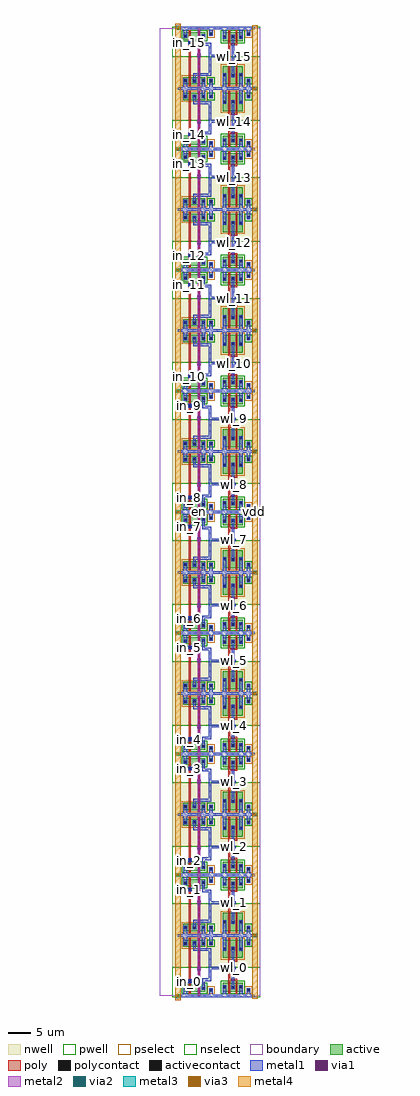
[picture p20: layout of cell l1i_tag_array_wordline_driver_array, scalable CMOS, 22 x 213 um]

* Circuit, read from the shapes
.subckt l1i_tag_array_wordline_driver_array en gnd in_0 in_1 in_10 in_11 in_12 in_13 in_14 in_15 in_2 in_3 in_4 in_5 in_6 in_7 in_8 in_9 vdd wl_0 wl_1 wl_10 wl_11 wl_12 wl_13 wl_14 wl_15 wl_2 wl_3 wl_4 wl_5 wl_6 wl_7 wl_8 wl_9
M1 l1i_tag_array_wordline_driver_0/l1i_tag_array_pnand2_0/l1i_tag_array_nmos_m1_w1_600_sm1_dactive_2/D in_0 gnd gnd nfet w=1.6u l=0.4u
M2 l1i_tag_array_wordline_driver_1/l1i_tag_array_pnand2_0/l1i_tag_array_nmos_m1_w1_600_sm1_dactive_2/D in_1 gnd gnd nfet w=1.6u l=0.4u
M3 l1i_tag_array_wordline_driver_2/l1i_tag_array_pnand2_0/l1i_tag_array_nmos_m1_w1_600_sm1_dactive_2/D in_2 gnd gnd nfet w=1.6u l=0.4u
M4 l1i_tag_array_wordline_driver_3/l1i_tag_array_pnand2_0/l1i_tag_array_nmos_m1_w1_600_sm1_dactive_2/D in_3 gnd gnd nfet w=1.6u l=0.4u
M5 l1i_tag_array_wordline_driver_4/l1i_tag_array_pnand2_0/l1i_tag_array_nmos_m1_w1_600_sm1_dactive_2/D in_4 gnd gnd nfet w=1.6u l=0.4u
M6 l1i_tag_array_wordline_driver_5/l1i_tag_array_pnand2_0/l1i_tag_array_nmos_m1_w1_600_sm1_dactive_2/D in_5 gnd gnd nfet w=1.6u l=0.4u
M7 l1i_tag_array_wordline_driver_6/l1i_tag_array_pnand2_0/l1i_tag_array_nmos_m1_w1_600_sm1_dactive_2/D in_6 gnd gnd nfet w=1.6u l=0.4u
M8 l1i_tag_array_wordline_driver_7/l1i_tag_array_pnand2_0/l1i_tag_array_nmos_m1_w1_600_sm1_dactive_2/D in_7 gnd gnd nfet w=1.6u l=0.4u
M9 l1i_tag_array_wordline_driver_8/l1i_tag_array_pnand2_0/l1i_tag_array_nmos_m1_w1_600_sm1_dactive_2/D in_8 gnd gnd nfet w=1.6u l=0.4u
M10 l1i_tag_array_wordline_driver_9/l1i_tag_array_pnand2_0/l1i_tag_array_nmos_m1_w1_600_sm1_dactive_2/D in_9 gnd gnd nfet w=1.6u l=0.4u
M11 l1i_tag_array_wordline_driver_10/l1i_tag_array_pnand2_0/l1i_tag_array_nmos_m1_w1_600_sm1_dactive_2/D in_10 gnd gnd nfet w=1.6u l=0.4u
M12 l1i_tag_array_wordline_driver_11/l1i_tag_array_pnand2_0/l1i_tag_array_nmos_m1_w1_600_sm1_dactive_2/D in_11 gnd gnd nfet w=1.6u l=0.4u
M13 l1i_tag_array_wordline_driver_12/l1i_tag_array_pnand2_0/l1i_tag_array_nmos_m1_w1_600_sm1_dactive_2/D in_12 gnd gnd nfet w=1.6u l=0.4u
M14 l1i_tag_array_wordline_driver_13/l1i_tag_array_pnand2_0/l1i_tag_array_nmos_m1_w1_600_sm1_dactive_2/D in_13 gnd gnd nfet w=1.6u l=0.4u
M15 l1i_tag_array_wordline_driver_14/l1i_tag_array_pnand2_0/l1i_tag_array_nmos_m1_w1_600_sm1_dactive_2/D in_14 gnd gnd nfet w=1.6u l=0.4u
M16 l1i_tag_array_wordline_driver_15/l1i_tag_array_pnand2_0/l1i_tag_array_nmos_m1_w1_600_sm1_dactive_2/D in_15 gnd gnd nfet w=1.6u l=0.4u
M17 l1i_tag_array_wordline_driver_0/l1i_tag_array_pinv_0_1/A en l1i_tag_array_wordline_driver_0/l1i_tag_array_pnand2_0/l1i_tag_array_nmos_m1_w1_600_sm1_dactive_2/D gnd nfet w=1.6u l=0.4u
M18 l1i_tag_array_wordline_driver_1/l1i_tag_array_pinv_0_1/A en l1i_tag_array_wordline_driver_1/l1i_tag_array_pnand2_0/l1i_tag_array_nmos_m1_w1_600_sm1_dactive_2/D gnd nfet w=1.6u l=0.4u
M19 l1i_tag_array_wordline_driver_2/l1i_tag_array_pinv_0_1/A en l1i_tag_array_wordline_driver_2/l1i_tag_array_pnand2_0/l1i_tag_array_nmos_m1_w1_600_sm1_dactive_2/D gnd nfet w=1.6u l=0.4u
M20 l1i_tag_array_wordline_driver_3/l1i_tag_array_pinv_0_1/A en l1i_tag_array_wordline_driver_3/l1i_tag_array_pnand2_0/l1i_tag_array_nmos_m1_w1_600_sm1_dactive_2/D gnd nfet w=1.6u l=0.4u
M21 l1i_tag_array_wordline_driver_4/l1i_tag_array_pinv_0_1/A en l1i_tag_array_wordline_driver_4/l1i_tag_array_pnand2_0/l1i_tag_array_nmos_m1_w1_600_sm1_dactive_2/D gnd nfet w=1.6u l=0.4u
M22 l1i_tag_array_wordline_driver_5/l1i_tag_array_pinv_0_1/A en l1i_tag_array_wordline_driver_5/l1i_tag_array_pnand2_0/l1i_tag_array_nmos_m1_w1_600_sm1_dactive_2/D gnd nfet w=1.6u l=0.4u
M23 l1i_tag_array_wordline_driver_6/l1i_tag_array_pinv_0_1/A en l1i_tag_array_wordline_driver_6/l1i_tag_array_pnand2_0/l1i_tag_array_nmos_m1_w1_600_sm1_dactive_2/D gnd nfet w=1.6u l=0.4u
M24 l1i_tag_array_wordline_driver_7/l1i_tag_array_pinv_0_1/A en l1i_tag_array_wordline_driver_7/l1i_tag_array_pnand2_0/l1i_tag_array_nmos_m1_w1_600_sm1_dactive_2/D gnd nfet w=1.6u l=0.4u
M25 l1i_tag_array_wordline_driver_8/l1i_tag_array_pinv_0_1/A en l1i_tag_array_wordline_driver_8/l1i_tag_array_pnand2_0/l1i_tag_array_nmos_m1_w1_600_sm1_dactive_2/D gnd nfet w=1.6u l=0.4u
M26 l1i_tag_array_wordline_driver_9/l1i_tag_array_pinv_0_1/A en l1i_tag_array_wordline_driver_9/l1i_tag_array_pnand2_0/l1i_tag_array_nmos_m1_w1_600_sm1_dactive_2/D gnd nfet w=1.6u l=0.4u
M27 l1i_tag_array_wordline_driver_10/l1i_tag_array_pinv_0_1/A en l1i_tag_array_wordline_driver_10/l1i_tag_array_pnand2_0/l1i_tag_array_nmos_m1_w1_600_sm1_dactive_2/D gnd nfet w=1.6u l=0.4u
M28 l1i_tag_array_wordline_driver_11/l1i_tag_array_pinv_0_1/A en l1i_tag_array_wordline_driver_11/l1i_tag_array_pnand2_0/l1i_tag_array_nmos_m1_w1_600_sm1_dactive_2/D gnd nfet w=1.6u l=0.4u
M29 l1i_tag_array_wordline_driver_12/l1i_tag_array_pinv_0_1/A en l1i_tag_array_wordline_driver_12/l1i_tag_array_pnand2_0/l1i_tag_array_nmos_m1_w1_600_sm1_dactive_2/D gnd nfet w=1.6u l=0.4u
M30 l1i_tag_array_wordline_driver_13/l1i_tag_array_pinv_0_1/A en l1i_tag_array_wordline_driver_13/l1i_tag_array_pnand2_0/l1i_tag_array_nmos_m1_w1_600_sm1_dactive_2/D gnd nfet w=1.6u l=0.4u
M31 l1i_tag_array_wordline_driver_14/l1i_tag_array_pinv_0_1/A en l1i_tag_array_wordline_driver_14/l1i_tag_array_pnand2_0/l1i_tag_array_nmos_m1_w1_600_sm1_dactive_2/D gnd nfet w=1.6u l=0.4u
M32 l1i_tag_array_wordline_driver_15/l1i_tag_array_pinv_0_1/A en l1i_tag_array_wordline_driver_15/l1i_tag_array_pnand2_0/l1i_tag_array_nmos_m1_w1_600_sm1_dactive_2/D gnd nfet w=1.6u l=0.4u
M33 wl_0 l1i_tag_array_wordline_driver_0/l1i_tag_array_pinv_0_1/A gnd gnd nfet w=2u l=0.4u m=2
M34 wl_1 l1i_tag_array_wordline_driver_1/l1i_tag_array_pinv_0_1/A gnd gnd nfet w=2u l=0.4u m=2
M35 wl_2 l1i_tag_array_wordline_driver_2/l1i_tag_array_pinv_0_1/A gnd gnd nfet w=2u l=0.4u m=2
M36 wl_3 l1i_tag_array_wordline_driver_3/l1i_tag_array_pinv_0_1/A gnd gnd nfet w=2u l=0.4u m=2
M37 wl_4 l1i_tag_array_wordline_driver_4/l1i_tag_array_pinv_0_1/A gnd gnd nfet w=2u l=0.4u m=2
M38 wl_5 l1i_tag_array_wordline_driver_5/l1i_tag_array_pinv_0_1/A gnd gnd nfet w=2u l=0.4u m=2
M39 wl_6 l1i_tag_array_wordline_driver_6/l1i_tag_array_pinv_0_1/A gnd gnd nfet w=2u l=0.4u m=2
M40 wl_7 l1i_tag_array_wordline_driver_7/l1i_tag_array_pinv_0_1/A gnd gnd nfet w=2u l=0.4u m=2
M41 wl_8 l1i_tag_array_wordline_driver_8/l1i_tag_array_pinv_0_1/A gnd gnd nfet w=2u l=0.4u m=2
M42 wl_9 l1i_tag_array_wordline_driver_9/l1i_tag_array_pinv_0_1/A gnd gnd nfet w=2u l=0.4u m=2
M43 wl_10 l1i_tag_array_wordline_driver_10/l1i_tag_array_pinv_0_1/A gnd gnd nfet w=2u l=0.4u m=2
M44 wl_11 l1i_tag_array_wordline_driver_11/l1i_tag_array_pinv_0_1/A gnd gnd nfet w=2u l=0.4u m=2
M45 wl_12 l1i_tag_array_wordline_driver_12/l1i_tag_array_pinv_0_1/A gnd gnd nfet w=2u l=0.4u m=2
M46 wl_13 l1i_tag_array_wordline_driver_13/l1i_tag_array_pinv_0_1/A gnd gnd nfet w=2u l=0.4u m=2
M47 wl_14 l1i_tag_array_wordline_driver_14/l1i_tag_array_pinv_0_1/A gnd gnd nfet w=2u l=0.4u m=2
M48 wl_15 l1i_tag_array_wordline_driver_15/l1i_tag_array_pinv_0_1/A gnd gnd nfet w=2u l=0.4u m=2
M49 l1i_tag_array_wordline_driver_0/l1i_tag_array_pinv_0_1/A in_0 vdd vdd pfet w=1.6u l=0.4u
M50 l1i_tag_array_wordline_driver_1/l1i_tag_array_pinv_0_1/A in_1 vdd vdd pfet w=1.6u l=0.4u
M51 l1i_tag_array_wordline_driver_2/l1i_tag_array_pinv_0_1/A in_2 vdd vdd pfet w=1.6u l=0.4u
M52 l1i_tag_array_wordline_driver_3/l1i_tag_array_pinv_0_1/A in_3 vdd vdd pfet w=1.6u l=0.4u
M53 l1i_tag_array_wordline_driver_4/l1i_tag_array_pinv_0_1/A in_4 vdd vdd pfet w=1.6u l=0.4u
M54 l1i_tag_array_wordline_driver_5/l1i_tag_array_pinv_0_1/A in_5 vdd vdd pfet w=1.6u l=0.4u
M55 l1i_tag_array_wordline_driver_6/l1i_tag_array_pinv_0_1/A in_6 vdd vdd pfet w=1.6u l=0.4u
M56 l1i_tag_array_wordline_driver_7/l1i_tag_array_pinv_0_1/A in_7 vdd vdd pfet w=1.6u l=0.4u
M57 l1i_tag_array_wordline_driver_8/l1i_tag_array_pinv_0_1/A in_8 vdd vdd pfet w=1.6u l=0.4u
M58 l1i_tag_array_wordline_driver_9/l1i_tag_array_pinv_0_1/A in_9 vdd vdd pfet w=1.6u l=0.4u
M59 l1i_tag_array_wordline_driver_10/l1i_tag_array_pinv_0_1/A in_10 vdd vdd pfet w=1.6u l=0.4u
M60 l1i_tag_array_wordline_driver_11/l1i_tag_array_pinv_0_1/A in_11 vdd vdd pfet w=1.6u l=0.4u
M61 l1i_tag_array_wordline_driver_12/l1i_tag_array_pinv_0_1/A in_12 vdd vdd pfet w=1.6u l=0.4u
M62 l1i_tag_array_wordline_driver_13/l1i_tag_array_pinv_0_1/A in_13 vdd vdd pfet w=1.6u l=0.4u
M63 l1i_tag_array_wordline_driver_14/l1i_tag_array_pinv_0_1/A in_14 vdd vdd pfet w=1.6u l=0.4u
M64 l1i_tag_array_wordline_driver_15/l1i_tag_array_pinv_0_1/A in_15 vdd vdd pfet w=1.6u l=0.4u
M65 vdd en l1i_tag_array_wordline_driver_0/l1i_tag_array_pinv_0_1/A vdd pfet w=1.6u l=0.4u
M66 vdd en l1i_tag_array_wordline_driver_1/l1i_tag_array_pinv_0_1/A vdd pfet w=1.6u l=0.4u
M67 vdd en l1i_tag_array_wordline_driver_2/l1i_tag_array_pinv_0_1/A vdd pfet w=1.6u l=0.4u
M68 vdd en l1i_tag_array_wordline_driver_3/l1i_tag_array_pinv_0_1/A vdd pfet w=1.6u l=0.4u
M69 vdd en l1i_tag_array_wordline_driver_4/l1i_tag_array_pinv_0_1/A vdd pfet w=1.6u l=0.4u
M70 vdd en l1i_tag_array_wordline_driver_5/l1i_tag_array_pinv_0_1/A vdd pfet w=1.6u l=0.4u
M71 vdd en l1i_tag_array_wordline_driver_6/l1i_tag_array_pinv_0_1/A vdd pfet w=1.6u l=0.4u
M72 vdd en l1i_tag_array_wordline_driver_7/l1i_tag_array_pinv_0_1/A vdd pfet w=1.6u l=0.4u
M73 vdd en l1i_tag_array_wordline_driver_8/l1i_tag_array_pinv_0_1/A vdd pfet w=1.6u l=0.4u
M74 vdd en l1i_tag_array_wordline_driver_9/l1i_tag_array_pinv_0_1/A vdd pfet w=1.6u l=0.4u
M75 vdd en l1i_tag_array_wordline_driver_10/l1i_tag_array_pinv_0_1/A vdd pfet w=1.6u l=0.4u
M76 vdd en l1i_tag_array_wordline_driver_11/l1i_tag_array_pinv_0_1/A vdd pfet w=1.6u l=0.4u
M77 vdd en l1i_tag_array_wordline_driver_12/l1i_tag_array_pinv_0_1/A vdd pfet w=1.6u l=0.4u
M78 vdd en l1i_tag_array_wordline_driver_13/l1i_tag_array_pinv_0_1/A vdd pfet w=1.6u l=0.4u
M79 vdd en l1i_tag_array_wordline_driver_14/l1i_tag_array_pinv_0_1/A vdd pfet w=1.6u l=0.4u
M80 vdd en l1i_tag_array_wordline_driver_15/l1i_tag_array_pinv_0_1/A vdd pfet w=1.6u l=0.4u
M81 wl_0 l1i_tag_array_wordline_driver_0/l1i_tag_array_pinv_0_1/A vdd vdd pfet w=4u l=0.4u m=2
M82 wl_1 l1i_tag_array_wordline_driver_1/l1i_tag_array_pinv_0_1/A vdd vdd pfet w=4u l=0.4u m=2
M83 wl_2 l1i_tag_array_wordline_driver_2/l1i_tag_array_pinv_0_1/A vdd vdd pfet w=4u l=0.4u m=2
M84 wl_3 l1i_tag_array_wordline_driver_3/l1i_tag_array_pinv_0_1/A vdd vdd pfet w=4u l=0.4u m=2
M85 wl_4 l1i_tag_array_wordline_driver_4/l1i_tag_array_pinv_0_1/A vdd vdd pfet w=4u l=0.4u m=2
M86 wl_5 l1i_tag_array_wordline_driver_5/l1i_tag_array_pinv_0_1/A vdd vdd pfet w=4u l=0.4u m=2
M87 wl_6 l1i_tag_array_wordline_driver_6/l1i_tag_array_pinv_0_1/A vdd vdd pfet w=4u l=0.4u m=2
M88 wl_7 l1i_tag_array_wordline_driver_7/l1i_tag_array_pinv_0_1/A vdd vdd pfet w=4u l=0.4u m=2
M89 wl_8 l1i_tag_array_wordline_driver_8/l1i_tag_array_pinv_0_1/A vdd vdd pfet w=4u l=0.4u m=2
M90 wl_9 l1i_tag_array_wordline_driver_9/l1i_tag_array_pinv_0_1/A vdd vdd pfet w=4u l=0.4u m=2
M91 wl_10 l1i_tag_array_wordline_driver_10/l1i_tag_array_pinv_0_1/A vdd vdd pfet w=4u l=0.4u m=2
M92 wl_11 l1i_tag_array_wordline_driver_11/l1i_tag_array_pinv_0_1/A vdd vdd pfet w=4u l=0.4u m=2
M93 wl_12 l1i_tag_array_wordline_driver_12/l1i_tag_array_pinv_0_1/A vdd vdd pfet w=4u l=0.4u m=2
M94 wl_13 l1i_tag_array_wordline_driver_13/l1i_tag_array_pinv_0_1/A vdd vdd pfet w=4u l=0.4u m=2
M95 wl_14 l1i_tag_array_wordline_driver_14/l1i_tag_array_pinv_0_1/A vdd vdd pfet w=4u l=0.4u m=2
M96 wl_15 l1i_tag_array_wordline_driver_15/l1i_tag_array_pinv_0_1/A vdd vdd pfet w=4u l=0.4u m=2
.ends

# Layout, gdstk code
import gdstk
lib = gdstk.Library(unit=1e-6, precision=1e-09)
def R(c, l, rs):  # rectangles x0, y0, x1, y1
    for r in rs: c.add(gdstk.rectangle(r[:2], r[2:], *l))
def A(c, l, x, y, w, h, nx, ny, dx, dy):  # array of equal rectangles
    R(c, l, [(x+i*dx, y+j*dy, x+i*dx+w, y+j*dy+h) for i in range(nx) for j in range(ny)])
via3 = (30, 0)
metal4 = (31, 0)
pwell = (41, 0)
nwell = (42, 0)
active = (43, 0)
pselect = (44, 0)
nselect = (45, 0)
poly = (46, 0)
polycontact = (47, 0)
activecontact = (48, 0)
metal1 = (49, 0)
via1 = (50, 0)
metal2 = (51, 0)
via2 = (61, 0)
metal3 = (62, 0)
boundary = (63, 0)

l1i_tag_array_contact_11 = lib.new_cell('l1i_tag_array_contact_11')
R(l1i_tag_array_contact_11, nwell, [(-1.2,-1.2,2,2)])
R(l1i_tag_array_contact_11, active, [(0,0,0.8,0.8)])
R(l1i_tag_array_contact_11, pselect, [(-0.4,-0.4,1.2,1.2)])
R(l1i_tag_array_contact_11, activecontact, [(0.2,0.2,0.6,0.6)])
R(l1i_tag_array_contact_11, metal1, [(0,0,0.8,0.8)])
R(l1i_tag_array_contact_11, boundary, [(-1.2,-1.2,2,2)])

l1i_tag_array_pmos_m1_w1 = lib.new_cell('l1i_tag_array_pmos_m1_w1_600_sm1_dm1')
R(l1i_tag_array_pmos_m1_w1, nwell, [(-1.2,-1.2,4,2.8)])
R(l1i_tag_array_pmos_m1_w1, active, [(0,0,2.8,1.6)])
R(l1i_tag_array_pmos_m1_w1, pselect, [(-0.4,-0.4,3.2,2)])
R(l1i_tag_array_pmos_m1_w1, poly, [(1.2,-0.4,1.6,2), (1.2,-0.4,1.6,2)])
R(l1i_tag_array_pmos_m1_w1, metal1, [(0,0.4,0.8,1.2), (2,0.4,2.8,1.2)])
R(l1i_tag_array_pmos_m1_w1, boundary, [(-1.2,-1.2,4,2.8)])
l1i_tag_array_pmos_m1_w1.add(gdstk.Reference(l1i_tag_array_contact_11, (0,0.4)))
l1i_tag_array_pmos_m1_w1.add(gdstk.Reference(l1i_tag_array_contact_11, (2,0.4)))
l1i_tag_array_pmos_m1_w1.add(gdstk.Label('G', (1.4,0.8), layer=46, texttype=0))
l1i_tag_array_pmos_m1_w1.add(gdstk.Label('S', (0.4,0.8), layer=49, texttype=0))
l1i_tag_array_pmos_m1_w1.add(gdstk.Label('D', (2.4,0.8), layer=49, texttype=0))

l1i_tag_array_contact_10 = lib.new_cell('l1i_tag_array_contact_10')
R(l1i_tag_array_contact_10, pwell, [(-1.2,-1.2,2,2)])
R(l1i_tag_array_contact_10, active, [(0,0,0.8,0.8)])
R(l1i_tag_array_contact_10, nselect, [(-0.4,-0.4,1.2,1.2)])
R(l1i_tag_array_contact_10, activecontact, [(0.2,0.2,0.6,0.6)])
R(l1i_tag_array_contact_10, metal1, [(0,0,0.8,0.8)])
R(l1i_tag_array_contact_10, boundary, [(-1.2,-1.2,2,2)])

l1i_tag_array_nmos_m1_w1 = lib.new_cell('l1i_tag_array_nmos_m1_w1_600_sm1_dactive')
R(l1i_tag_array_nmos_m1_w1, pwell, [(-1.2,-1.2,4,2.8)])
R(l1i_tag_array_nmos_m1_w1, active, [(0,0,2.8,1.6), (2.1,0.5,2.7,1.1)])
R(l1i_tag_array_nmos_m1_w1, nselect, [(-0.4,-0.4,3.2,2)])
R(l1i_tag_array_nmos_m1_w1, poly, [(1.2,-0.4,1.6,2), (1.2,-0.4,1.6,2)])
R(l1i_tag_array_nmos_m1_w1, metal1, [(0,0.4,0.8,1.2)])
R(l1i_tag_array_nmos_m1_w1, boundary, [(-1.2,-1.2,4,2.8)])
l1i_tag_array_nmos_m1_w1.add(gdstk.Reference(l1i_tag_array_contact_10, (0,0.4)))
l1i_tag_array_nmos_m1_w1.add(gdstk.Label('G', (1.4,0.8), layer=46, texttype=0))
l1i_tag_array_nmos_m1_w1.add(gdstk.Label('S', (0.4,0.8), layer=49, texttype=0))
l1i_tag_array_nmos_m1_w1.add(gdstk.Label('D', (2.4,0.8), layer=43, texttype=0))

c_l1i_tag_array_nmos_m1_w1 = lib.new_cell('l1i_tag_array_nmos_m1_w1_600_sactive_dm1')
R(c_l1i_tag_array_nmos_m1_w1, pwell, [(-1.2,-1.2,4,2.8)])
R(c_l1i_tag_array_nmos_m1_w1, active, [(0,0,2.8,1.6), (0.1,0.5,0.7,1.1)])
R(c_l1i_tag_array_nmos_m1_w1, nselect, [(-0.4,-0.4,3.2,2)])
R(c_l1i_tag_array_nmos_m1_w1, poly, [(1.2,-0.4,1.6,2), (1.2,-0.4,1.6,2)])
R(c_l1i_tag_array_nmos_m1_w1, metal1, [(2,0.4,2.8,1.2)])
R(c_l1i_tag_array_nmos_m1_w1, boundary, [(-1.2,-1.2,4,2.8)])
c_l1i_tag_array_nmos_m1_w1.add(gdstk.Reference(l1i_tag_array_contact_10, (2,0.4)))
c_l1i_tag_array_nmos_m1_w1.add(gdstk.Label('G', (1.4,0.8), layer=46, texttype=0))
c_l1i_tag_array_nmos_m1_w1.add(gdstk.Label('S', (0.4,0.8), layer=43, texttype=0))
c_l1i_tag_array_nmos_m1_w1.add(gdstk.Label('D', (2.4,0.8), layer=49, texttype=0))

l1i_tag_array_contact_12 = lib.new_cell('l1i_tag_array_contact_12')
R(l1i_tag_array_contact_12, nwell, [(-1.2,-1.2,2,2)])
R(l1i_tag_array_contact_12, active, [(0,0,0.8,0.8)])
R(l1i_tag_array_contact_12, nselect, [(-0.4,-0.4,1.2,1.2)])
R(l1i_tag_array_contact_12, activecontact, [(0.2,0.2,0.6,0.6)])
R(l1i_tag_array_contact_12, metal1, [(0,0,0.8,0.8)])
R(l1i_tag_array_contact_12, boundary, [(-1.2,-1.2,2,2)])

l1i_tag_array_contact_13 = lib.new_cell('l1i_tag_array_contact_13')
R(l1i_tag_array_contact_13, pwell, [(-1.2,-1.2,2,2)])
R(l1i_tag_array_contact_13, active, [(0,0,0.8,0.8)])
R(l1i_tag_array_contact_13, pselect, [(-0.4,-0.4,1.2,1.2)])
R(l1i_tag_array_contact_13, activecontact, [(0.2,0.2,0.6,0.6)])
R(l1i_tag_array_contact_13, metal1, [(0,0,0.8,0.8)])
R(l1i_tag_array_contact_13, boundary, [(-1.2,-1.2,2,2)])

l1i_tag_array_contact_14 = lib.new_cell('l1i_tag_array_contact_14')
R(l1i_tag_array_contact_14, poly, [(0,0,0.8,0.8)])
R(l1i_tag_array_contact_14, polycontact, [(0.2,0.2,0.6,0.6)])
R(l1i_tag_array_contact_14, metal1, [(0,0,0.8,0.8)])
R(l1i_tag_array_contact_14, boundary, [(0,0,0.8,0.8)])

l1i_tag_array_pnand2 = lib.new_cell('l1i_tag_array_pnand2')
R(l1i_tag_array_pnand2, pwell, [(-1.2,-0.3,9.8,6.3)])
R(l1i_tag_array_pnand2, nwell, [(-1.2,6.3,9.8,14.7)])
R(l1i_tag_array_pnand2, poly, [(2.4,2.8,2.6,3.6), (2.4,2.9,2.8,10.3), (4.4,2.9,4.8,10.3), (4.4,5.6,4.6,6.4)])
R(l1i_tag_array_pnand2, metal1, [(0,-0.3,8.6,0.3), (1.2,-0.3,2,1.3), (6.8,0,7.6,1.3), (5.3,2.1,5.9,3.5), (2.2,2.8,3,3.6), (5.3,3.2,5.9,3.8), (5.6,3.2,7,3.8), (6.7,3.2,7.3,3.8), (6.7,3.5,7.3,10.1), (4.2,5.6,5,6.4), (3.3,9.8,3.9,10.4), (3.6,9.8,7,10.4), (6.7,9.8,7.3,10.4), (3.3,10.1,3.9,11.1), (1.2,11.1,2,13.5), (5.2,11.1,6,13.5), (6.8,11.5,7.6,13.2), (0,12.9,8.6,13.5)])
R(l1i_tag_array_pnand2, boundary, [(0,0,8.6,13.2), (0,0,8.6,13.2)])
l1i_tag_array_pnand2.add(gdstk.Reference(l1i_tag_array_pmos_m1_w1, (1.2,10.7)))
l1i_tag_array_pnand2.add(gdstk.Reference(l1i_tag_array_pmos_m1_w1, (3.2,10.7)))
l1i_tag_array_pnand2.add(gdstk.Reference(l1i_tag_array_nmos_m1_w1, (1.2,0.9)))
l1i_tag_array_pnand2.add(gdstk.Reference(c_l1i_tag_array_nmos_m1_w1, (3.2,0.9)))
l1i_tag_array_pnand2.add(gdstk.Reference(l1i_tag_array_contact_12, (6.8,11.1)))
l1i_tag_array_pnand2.add(gdstk.Reference(l1i_tag_array_contact_13, (6.8,0.9)))
l1i_tag_array_pnand2.add(gdstk.Reference(l1i_tag_array_contact_14, (2.2,2.8)))
l1i_tag_array_pnand2.add(gdstk.Reference(l1i_tag_array_contact_14, (4.2,5.6)))
l1i_tag_array_pnand2.add(gdstk.Label('Z', (7,10.1), layer=49, texttype=0))
l1i_tag_array_pnand2.add(gdstk.Label('gnd', (4.3,0), layer=49, texttype=0))
l1i_tag_array_pnand2.add(gdstk.Label('vdd', (4.3,13.2), layer=49, texttype=0))
l1i_tag_array_pnand2.add(gdstk.Label('A', (2.6,3.2), layer=49, texttype=0))
l1i_tag_array_pnand2.add(gdstk.Label('B', (4.6,6), layer=49, texttype=0))

l1i_tag_array_pmos_m2_w4 = lib.new_cell('l1i_tag_array_pmos_m2_w4_000_sm1_dm1_da_p')
R(l1i_tag_array_pmos_m2_w4, nwell, [(-1.2,-1.2,5.6,5.2)])
R(l1i_tag_array_pmos_m2_w4, active, [(0,0,4.4,4)])
R(l1i_tag_array_pmos_m2_w4, pselect, [(-0.4,-0.4,4.8,4.4)])
R(l1i_tag_array_pmos_m2_w4, poly, [(1.2,-0.8,3.2,-0.4), (1.2,-0.4,1.6,4.4), (2.8,-0.4,3.2,4.4)])
A(l1i_tag_array_pmos_m2_w4, metal1, 0, 1.6, 0.8, 0.8, 3, 1, 1.8, 0)
R(l1i_tag_array_pmos_m2_w4, boundary, [(-1.2,-1.2,5.6,5.2)])
l1i_tag_array_pmos_m2_w4.add(gdstk.Reference(l1i_tag_array_contact_11, (0,1.6)))
l1i_tag_array_pmos_m2_w4.add(gdstk.Reference(l1i_tag_array_contact_11, (1.8,1.6)))
l1i_tag_array_pmos_m2_w4.add(gdstk.Reference(l1i_tag_array_contact_11, (3.6,1.6)))
l1i_tag_array_pmos_m2_w4.add(gdstk.Label('G', (2.2,-0.6), layer=46, texttype=0))
l1i_tag_array_pmos_m2_w4.add(gdstk.Label('S', (0.4,2), layer=49, texttype=0))
l1i_tag_array_pmos_m2_w4.add(gdstk.Label('S', (4,2), layer=49, texttype=0))
l1i_tag_array_pmos_m2_w4.add(gdstk.Label('D', (2.2,2), layer=49, texttype=0))

l1i_tag_array_nmos_m2_w2 = lib.new_cell('l1i_tag_array_nmos_m2_w2_000_sm1_dm1_da_p')
R(l1i_tag_array_nmos_m2_w2, pwell, [(-1.2,-1.2,5.6,3.2)])
R(l1i_tag_array_nmos_m2_w2, active, [(0,0,4.4,2)])
R(l1i_tag_array_nmos_m2_w2, nselect, [(-0.4,-0.4,4.8,2.4)])
R(l1i_tag_array_nmos_m2_w2, poly, [(1.2,-0.4,1.6,2.4), (2.8,-0.4,3.2,2.4), (1.2,2.4,3.2,2.8)])
A(l1i_tag_array_nmos_m2_w2, metal1, 0, 0.6, 0.8, 0.8, 3, 1, 1.8, 0)
R(l1i_tag_array_nmos_m2_w2, boundary, [(-1.2,-1.2,5.6,3.2)])
l1i_tag_array_nmos_m2_w2.add(gdstk.Reference(l1i_tag_array_contact_10, (0,0.6)))
l1i_tag_array_nmos_m2_w2.add(gdstk.Reference(l1i_tag_array_contact_10, (1.8,0.6)))
l1i_tag_array_nmos_m2_w2.add(gdstk.Reference(l1i_tag_array_contact_10, (3.6,0.6)))
l1i_tag_array_nmos_m2_w2.add(gdstk.Label('G', (2.2,2.6), layer=46, texttype=0))
l1i_tag_array_nmos_m2_w2.add(gdstk.Label('S', (0.4,1), layer=49, texttype=0))
l1i_tag_array_nmos_m2_w2.add(gdstk.Label('S', (4,1), layer=49, texttype=0))
l1i_tag_array_nmos_m2_w2.add(gdstk.Label('D', (2.2,1), layer=49, texttype=0))

l1i_tag_array_pinv_0 = lib.new_cell('l1i_tag_array_pinv_0')
R(l1i_tag_array_pinv_0, pwell, [(-1.2,-0.3,9.4,6.3)])
R(l1i_tag_array_pinv_0, nwell, [(-1.2,6.3,9.4,14.7)])
R(l1i_tag_array_pinv_0, poly, [(2.4,3.7,2.8,7.5), (2,5.7,2.4,6.5)])
R(l1i_tag_array_pinv_0, metal1, [(0,-0.3,8.2,0.3), (1.2,-0.3,2,1.5), (4.8,-0.3,5.6,1.5), (6.4,0,7.2,1.3), (3.1,1.5,3.7,10.7), (1.6,5.7,2.4,6.5), (3.4,5.8,4,6.4), (1.2,9.9,2,13.5), (4.8,9.9,5.6,13.5), (6.4,11.5,7.2,13.2), (0,12.9,8.2,13.5)])
R(l1i_tag_array_pinv_0, boundary, [(0,0,8.2,13.2), (0,0,8.2,13.2)])
l1i_tag_array_pinv_0.add(gdstk.Reference(l1i_tag_array_pmos_m2_w4, (1.2,8.3)))
l1i_tag_array_pinv_0.add(gdstk.Reference(l1i_tag_array_nmos_m2_w2, (1.2,0.9)))
l1i_tag_array_pinv_0.add(gdstk.Reference(l1i_tag_array_contact_12, (6.4,11.1)))
l1i_tag_array_pinv_0.add(gdstk.Reference(l1i_tag_array_contact_13, (6.4,0.9)))
l1i_tag_array_pinv_0.add(gdstk.Reference(l1i_tag_array_contact_14, (1.6,5.7)))
l1i_tag_array_pinv_0.add(gdstk.Label('A', (2,6.1), layer=49, texttype=0))
l1i_tag_array_pinv_0.add(gdstk.Label('Z', (3.7,6.1), layer=49, texttype=0))
l1i_tag_array_pinv_0.add(gdstk.Label('gnd', (4.1,0), layer=49, texttype=0))
l1i_tag_array_pinv_0.add(gdstk.Label('vdd', (4.1,13.2), layer=49, texttype=0))

l1i_tag_array_wordline_d = lib.new_cell('l1i_tag_array_wordline_driver')
R(l1i_tag_array_wordline_d, metal1, [(0,-0.3,16.8,0.3), (2.2,2.8,3,3.6), (4.2,5.6,5,6.4), (6.7,5.8,7.3,6.4), (7,5.8,10.6,6.4), (12,5.8,12.6,6.4), (6.7,6.1,7.3,10.1), (0,12.9,16.8,13.5)])
R(l1i_tag_array_wordline_d, boundary, [(0,0,16.8,13.2)])
l1i_tag_array_wordline_d.add(gdstk.Reference(l1i_tag_array_pnand2, (0,0)))
l1i_tag_array_wordline_d.add(gdstk.Reference(l1i_tag_array_pinv_0, (8.6,0)))
l1i_tag_array_wordline_d.add(gdstk.Label('Z', (12.3,6.1), layer=49, texttype=0))
l1i_tag_array_wordline_d.add(gdstk.Label('A', (2.6,3.2), layer=49, texttype=0))
l1i_tag_array_wordline_d.add(gdstk.Label('B', (4.6,6), layer=49, texttype=0))
l1i_tag_array_wordline_d.add(gdstk.Label('gnd', (8.4,0), layer=49, texttype=0))
l1i_tag_array_wordline_d.add(gdstk.Label('vdd', (8.4,13.2), layer=49, texttype=0))

l1i_tag_array_contact_17 = lib.new_cell('l1i_tag_array_contact_17')
R(l1i_tag_array_contact_17, metal1, [(0,0,0.8,0.8)])
R(l1i_tag_array_contact_17, via1, [(0.2,0.2,0.6,0.6)])
R(l1i_tag_array_contact_17, metal2, [(0,0,0.8,0.8)])
R(l1i_tag_array_contact_17, boundary, [(0,0,0.8,0.8)])

l1i_tag_array_contact_18 = lib.new_cell('l1i_tag_array_contact_18')
R(l1i_tag_array_contact_18, metal2, [(0,0,0.8,0.8)])
R(l1i_tag_array_contact_18, via2, [(0.2,0.2,0.6,0.6)])
R(l1i_tag_array_contact_18, metal3, [(0,0,0.8,0.8)])
R(l1i_tag_array_contact_18, boundary, [(0,0,0.8,0.8)])

l1i_tag_array_contact_21 = lib.new_cell('l1i_tag_array_contact_21')
R(l1i_tag_array_contact_21, via3, [(0.4,0.4,0.8,0.8)])
R(l1i_tag_array_contact_21, metal4, [(0,0,1.2,1.2)])
R(l1i_tag_array_contact_21, metal3, [(0.2,0.2,1,1)])
R(l1i_tag_array_contact_21, boundary, [(0,0,1.2,1.2)])

c_l1i_tag_array_wordline_d = lib.new_cell('l1i_tag_array_wordline_driver_array')
R(c_l1i_tag_array_wordline_d, metal4, [(3.4,-0.9,4.6,212.1), (20.2,-0.6,21.4,211.8)])
R(c_l1i_tag_array_wordline_d, metal1, [(6.2,2.8,7,3.6), (16,5.8,16.6,6.4), (16,20,16.6,20.6), (6.2,22.8,7,23.6), (6.2,29.2,7,30), (16,32.2,16.6,32.8), (16,46.4,16.6,47), (6.2,49.2,7,50), (6.2,55.6,7,56.4), (16,58.6,16.6,59.2), (16,72.8,16.6,73.4), (6.2,75.6,7,76.4), (6.2,82,7,82.8), (16,85,16.6,85.6), (16,99.2,16.6,99.8), (6.2,102,7,102.8), (6.2,108.4,7,109.2), (16,111.4,16.6,112), (16,125.6,16.6,126.2), (6.2,128.4,7,129.2), (6.2,134.8,7,135.6), (16,137.8,16.6,138.4), (16,152,16.6,152.6), (6.2,154.8,7,155.6), (6.2,161.2,7,162), (16,164.2,16.6,164.8), (16,178.4,16.6,179), (6.2,181.2,7,182), (6.2,187.6,7,188.4), (16,190.6,16.6,191.2), (16,204.8,16.6,205.4), (6.2,207.6,7,208.4)])
R(c_l1i_tag_array_wordline_d, metal2, [(8.3,0,8.9,211.2)])
R(c_l1i_tag_array_wordline_d, boundary, [(0,0,22,211.2)])
c_l1i_tag_array_wordline_d.add(gdstk.Reference(l1i_tag_array_wordline_d, (4,0)))
c_l1i_tag_array_wordline_d.add(gdstk.Reference(l1i_tag_array_wordline_d, (4,26.4), x_reflection=True))
c_l1i_tag_array_wordline_d.add(gdstk.Reference(l1i_tag_array_wordline_d, (4,26.4)))
c_l1i_tag_array_wordline_d.add(gdstk.Reference(l1i_tag_array_wordline_d, (4,52.8), x_reflection=True))
c_l1i_tag_array_wordline_d.add(gdstk.Reference(l1i_tag_array_wordline_d, (4,52.8)))
c_l1i_tag_array_wordline_d.add(gdstk.Reference(l1i_tag_array_wordline_d, (4,79.2), x_reflection=True))
c_l1i_tag_array_wordline_d.add(gdstk.Reference(l1i_tag_array_wordline_d, (4,79.2)))
c_l1i_tag_array_wordline_d.add(gdstk.Reference(l1i_tag_array_wordline_d, (4,105.6), x_reflection=True))
c_l1i_tag_array_wordline_d.add(gdstk.Reference(l1i_tag_array_wordline_d, (4,105.6)))
c_l1i_tag_array_wordline_d.add(gdstk.Reference(l1i_tag_array_wordline_d, (4,132), x_reflection=True))
c_l1i_tag_array_wordline_d.add(gdstk.Reference(l1i_tag_array_wordline_d, (4,132)))
c_l1i_tag_array_wordline_d.add(gdstk.Reference(l1i_tag_array_wordline_d, (4,158.4), x_reflection=True))
c_l1i_tag_array_wordline_d.add(gdstk.Reference(l1i_tag_array_wordline_d, (4,158.4)))
c_l1i_tag_array_wordline_d.add(gdstk.Reference(l1i_tag_array_wordline_d, (4,184.8), x_reflection=True))
c_l1i_tag_array_wordline_d.add(gdstk.Reference(l1i_tag_array_wordline_d, (4,184.8)))
c_l1i_tag_array_wordline_d.add(gdstk.Reference(l1i_tag_array_wordline_d, (4,211.2), x_reflection=True))
c_l1i_tag_array_wordline_d.add(gdstk.Reference(l1i_tag_array_contact_17, (8.2,5.6)))
c_l1i_tag_array_wordline_d.add(gdstk.Reference(l1i_tag_array_contact_17, (8.2,20)))
c_l1i_tag_array_wordline_d.add(gdstk.Reference(l1i_tag_array_contact_17, (8.2,32)))
c_l1i_tag_array_wordline_d.add(gdstk.Reference(l1i_tag_array_contact_17, (8.2,46.4)))
c_l1i_tag_array_wordline_d.add(gdstk.Reference(l1i_tag_array_contact_17, (8.2,58.4)))
c_l1i_tag_array_wordline_d.add(gdstk.Reference(l1i_tag_array_contact_17, (8.2,72.8)))
c_l1i_tag_array_wordline_d.add(gdstk.Reference(l1i_tag_array_contact_17, (8.2,84.8)))
c_l1i_tag_array_wordline_d.add(gdstk.Reference(l1i_tag_array_contact_17, (8.2,99.2)))
c_l1i_tag_array_wordline_d.add(gdstk.Reference(l1i_tag_array_contact_17, (8.2,111.2)))
c_l1i_tag_array_wordline_d.add(gdstk.Reference(l1i_tag_array_contact_17, (8.2,125.6)))
c_l1i_tag_array_wordline_d.add(gdstk.Reference(l1i_tag_array_contact_17, (8.2,137.6)))
c_l1i_tag_array_wordline_d.add(gdstk.Reference(l1i_tag_array_contact_17, (8.2,152)))
c_l1i_tag_array_wordline_d.add(gdstk.Reference(l1i_tag_array_contact_17, (8.2,164)))
c_l1i_tag_array_wordline_d.add(gdstk.Reference(l1i_tag_array_contact_17, (8.2,178.4)))
c_l1i_tag_array_wordline_d.add(gdstk.Reference(l1i_tag_array_contact_17, (8.2,190.4)))
c_l1i_tag_array_wordline_d.add(gdstk.Reference(l1i_tag_array_contact_17, (8.2,204.8)))
c_l1i_tag_array_wordline_d.add(gdstk.Reference(l1i_tag_array_contact_17, (20.4,12.8)))
c_l1i_tag_array_wordline_d.add(gdstk.Reference(l1i_tag_array_contact_18, (20.4,12.8)))
c_l1i_tag_array_wordline_d.add(gdstk.Reference(l1i_tag_array_contact_21, (20.2,12.6)))
c_l1i_tag_array_wordline_d.add(gdstk.Reference(l1i_tag_array_contact_17, (20.4,12.8)))
c_l1i_tag_array_wordline_d.add(gdstk.Reference(l1i_tag_array_contact_18, (20.4,12.8)))
c_l1i_tag_array_wordline_d.add(gdstk.Reference(l1i_tag_array_contact_21, (20.2,12.6)))
c_l1i_tag_array_wordline_d.add(gdstk.Reference(l1i_tag_array_contact_17, (20.4,39.2)))
c_l1i_tag_array_wordline_d.add(gdstk.Reference(l1i_tag_array_contact_18, (20.4,39.2)))
c_l1i_tag_array_wordline_d.add(gdstk.Reference(l1i_tag_array_contact_21, (20.2,39)))
c_l1i_tag_array_wordline_d.add(gdstk.Reference(l1i_tag_array_contact_17, (20.4,39.2)))
c_l1i_tag_array_wordline_d.add(gdstk.Reference(l1i_tag_array_contact_18, (20.4,39.2)))
c_l1i_tag_array_wordline_d.add(gdstk.Reference(l1i_tag_array_contact_21, (20.2,39)))
c_l1i_tag_array_wordline_d.add(gdstk.Reference(l1i_tag_array_contact_17, (20.4,65.6)))
c_l1i_tag_array_wordline_d.add(gdstk.Reference(l1i_tag_array_contact_18, (20.4,65.6)))
c_l1i_tag_array_wordline_d.add(gdstk.Reference(l1i_tag_array_contact_21, (20.2,65.4)))
c_l1i_tag_array_wordline_d.add(gdstk.Reference(l1i_tag_array_contact_17, (20.4,65.6)))
c_l1i_tag_array_wordline_d.add(gdstk.Reference(l1i_tag_array_contact_18, (20.4,65.6)))
c_l1i_tag_array_wordline_d.add(gdstk.Reference(l1i_tag_array_contact_21, (20.2,65.4)))
c_l1i_tag_array_wordline_d.add(gdstk.Reference(l1i_tag_array_contact_17, (20.4,92)))
c_l1i_tag_array_wordline_d.add(gdstk.Reference(l1i_tag_array_contact_18, (20.4,92)))
c_l1i_tag_array_wordline_d.add(gdstk.Reference(l1i_tag_array_contact_21, (20.2,91.8)))
c_l1i_tag_array_wordline_d.add(gdstk.Reference(l1i_tag_array_contact_17, (20.4,92)))
c_l1i_tag_array_wordline_d.add(gdstk.Reference(l1i_tag_array_contact_18, (20.4,92)))
c_l1i_tag_array_wordline_d.add(gdstk.Reference(l1i_tag_array_contact_21, (20.2,91.8)))
c_l1i_tag_array_wordline_d.add(gdstk.Reference(l1i_tag_array_contact_17, (20.4,118.4)))
c_l1i_tag_array_wordline_d.add(gdstk.Reference(l1i_tag_array_contact_18, (20.4,118.4)))
c_l1i_tag_array_wordline_d.add(gdstk.Reference(l1i_tag_array_contact_21, (20.2,118.2)))
c_l1i_tag_array_wordline_d.add(gdstk.Reference(l1i_tag_array_contact_17, (20.4,118.4)))
c_l1i_tag_array_wordline_d.add(gdstk.Reference(l1i_tag_array_contact_18, (20.4,118.4)))
c_l1i_tag_array_wordline_d.add(gdstk.Reference(l1i_tag_array_contact_21, (20.2,118.2)))
c_l1i_tag_array_wordline_d.add(gdstk.Reference(l1i_tag_array_contact_17, (20.4,144.8)))
c_l1i_tag_array_wordline_d.add(gdstk.Reference(l1i_tag_array_contact_18, (20.4,144.8)))
c_l1i_tag_array_wordline_d.add(gdstk.Reference(l1i_tag_array_contact_21, (20.2,144.6)))
c_l1i_tag_array_wordline_d.add(gdstk.Reference(l1i_tag_array_contact_17, (20.4,144.8)))
c_l1i_tag_array_wordline_d.add(gdstk.Reference(l1i_tag_array_contact_18, (20.4,144.8)))
c_l1i_tag_array_wordline_d.add(gdstk.Reference(l1i_tag_array_contact_21, (20.2,144.6)))
c_l1i_tag_array_wordline_d.add(gdstk.Reference(l1i_tag_array_contact_17, (20.4,171.2)))
c_l1i_tag_array_wordline_d.add(gdstk.Reference(l1i_tag_array_contact_18, (20.4,171.2)))
c_l1i_tag_array_wordline_d.add(gdstk.Reference(l1i_tag_array_contact_21, (20.2,171)))
c_l1i_tag_array_wordline_d.add(gdstk.Reference(l1i_tag_array_contact_17, (20.4,171.2)))
c_l1i_tag_array_wordline_d.add(gdstk.Reference(l1i_tag_array_contact_18, (20.4,171.2)))
c_l1i_tag_array_wordline_d.add(gdstk.Reference(l1i_tag_array_contact_21, (20.2,171)))
c_l1i_tag_array_wordline_d.add(gdstk.Reference(l1i_tag_array_contact_17, (20.4,197.6)))
c_l1i_tag_array_wordline_d.add(gdstk.Reference(l1i_tag_array_contact_18, (20.4,197.6)))
c_l1i_tag_array_wordline_d.add(gdstk.Reference(l1i_tag_array_contact_21, (20.2,197.4)))
c_l1i_tag_array_wordline_d.add(gdstk.Reference(l1i_tag_array_contact_17, (20.4,197.6)))
c_l1i_tag_array_wordline_d.add(gdstk.Reference(l1i_tag_array_contact_18, (20.4,197.6)))
c_l1i_tag_array_wordline_d.add(gdstk.Reference(l1i_tag_array_contact_21, (20.2,197.4)))
c_l1i_tag_array_wordline_d.add(gdstk.Reference(l1i_tag_array_contact_17, (3.6,-0.4)))
c_l1i_tag_array_wordline_d.add(gdstk.Reference(l1i_tag_array_contact_18, (3.6,-0.4)))
c_l1i_tag_array_wordline_d.add(gdstk.Reference(l1i_tag_array_contact_21, (3.4,-0.6)))
c_l1i_tag_array_wordline_d.add(gdstk.Reference(l1i_tag_array_contact_17, (3.6,26)))
c_l1i_tag_array_wordline_d.add(gdstk.Reference(l1i_tag_array_contact_18, (3.6,26)))
c_l1i_tag_array_wordline_d.add(gdstk.Reference(l1i_tag_array_contact_21, (3.4,25.8)))
c_l1i_tag_array_wordline_d.add(gdstk.Reference(l1i_tag_array_contact_17, (3.6,26)))
c_l1i_tag_array_wordline_d.add(gdstk.Reference(l1i_tag_array_contact_18, (3.6,26)))
c_l1i_tag_array_wordline_d.add(gdstk.Reference(l1i_tag_array_contact_21, (3.4,25.8)))
c_l1i_tag_array_wordline_d.add(gdstk.Reference(l1i_tag_array_contact_17, (3.6,52.4)))
c_l1i_tag_array_wordline_d.add(gdstk.Reference(l1i_tag_array_contact_18, (3.6,52.4)))
c_l1i_tag_array_wordline_d.add(gdstk.Reference(l1i_tag_array_contact_21, (3.4,52.2)))
c_l1i_tag_array_wordline_d.add(gdstk.Reference(l1i_tag_array_contact_17, (3.6,52.4)))
c_l1i_tag_array_wordline_d.add(gdstk.Reference(l1i_tag_array_contact_18, (3.6,52.4)))
c_l1i_tag_array_wordline_d.add(gdstk.Reference(l1i_tag_array_contact_21, (3.4,52.2)))
c_l1i_tag_array_wordline_d.add(gdstk.Reference(l1i_tag_array_contact_17, (3.6,78.8)))
c_l1i_tag_array_wordline_d.add(gdstk.Reference(l1i_tag_array_contact_18, (3.6,78.8)))
c_l1i_tag_array_wordline_d.add(gdstk.Reference(l1i_tag_array_contact_21, (3.4,78.6)))
c_l1i_tag_array_wordline_d.add(gdstk.Reference(l1i_tag_array_contact_17, (3.6,78.8)))
c_l1i_tag_array_wordline_d.add(gdstk.Reference(l1i_tag_array_contact_18, (3.6,78.8)))
c_l1i_tag_array_wordline_d.add(gdstk.Reference(l1i_tag_array_contact_21, (3.4,78.6)))
c_l1i_tag_array_wordline_d.add(gdstk.Reference(l1i_tag_array_contact_17, (3.6,105.2)))
c_l1i_tag_array_wordline_d.add(gdstk.Reference(l1i_tag_array_contact_18, (3.6,105.2)))
c_l1i_tag_array_wordline_d.add(gdstk.Reference(l1i_tag_array_contact_21, (3.4,105)))
c_l1i_tag_array_wordline_d.add(gdstk.Reference(l1i_tag_array_contact_17, (3.6,105.2)))
c_l1i_tag_array_wordline_d.add(gdstk.Reference(l1i_tag_array_contact_18, (3.6,105.2)))
c_l1i_tag_array_wordline_d.add(gdstk.Reference(l1i_tag_array_contact_21, (3.4,105)))
c_l1i_tag_array_wordline_d.add(gdstk.Reference(l1i_tag_array_contact_17, (3.6,131.6)))
c_l1i_tag_array_wordline_d.add(gdstk.Reference(l1i_tag_array_contact_18, (3.6,131.6)))
c_l1i_tag_array_wordline_d.add(gdstk.Reference(l1i_tag_array_contact_21, (3.4,131.4)))
c_l1i_tag_array_wordline_d.add(gdstk.Reference(l1i_tag_array_contact_17, (3.6,131.6)))
c_l1i_tag_array_wordline_d.add(gdstk.Reference(l1i_tag_array_contact_18, (3.6,131.6)))
c_l1i_tag_array_wordline_d.add(gdstk.Reference(l1i_tag_array_contact_21, (3.4,131.4)))
c_l1i_tag_array_wordline_d.add(gdstk.Reference(l1i_tag_array_contact_17, (3.6,158)))
c_l1i_tag_array_wordline_d.add(gdstk.Reference(l1i_tag_array_contact_18, (3.6,158)))
c_l1i_tag_array_wordline_d.add(gdstk.Reference(l1i_tag_array_contact_21, (3.4,157.8)))
c_l1i_tag_array_wordline_d.add(gdstk.Reference(l1i_tag_array_contact_17, (3.6,158)))
c_l1i_tag_array_wordline_d.add(gdstk.Reference(l1i_tag_array_contact_18, (3.6,158)))
c_l1i_tag_array_wordline_d.add(gdstk.Reference(l1i_tag_array_contact_21, (3.4,157.8)))
c_l1i_tag_array_wordline_d.add(gdstk.Reference(l1i_tag_array_contact_17, (3.6,184.4)))
c_l1i_tag_array_wordline_d.add(gdstk.Reference(l1i_tag_array_contact_18, (3.6,184.4)))
c_l1i_tag_array_wordline_d.add(gdstk.Reference(l1i_tag_array_contact_21, (3.4,184.2)))
c_l1i_tag_array_wordline_d.add(gdstk.Reference(l1i_tag_array_contact_17, (3.6,184.4)))
c_l1i_tag_array_wordline_d.add(gdstk.Reference(l1i_tag_array_contact_18, (3.6,184.4)))
c_l1i_tag_array_wordline_d.add(gdstk.Reference(l1i_tag_array_contact_21, (3.4,184.2)))
c_l1i_tag_array_wordline_d.add(gdstk.Reference(l1i_tag_array_contact_17, (3.6,210.8)))
c_l1i_tag_array_wordline_d.add(gdstk.Reference(l1i_tag_array_contact_18, (3.6,210.8)))
c_l1i_tag_array_wordline_d.add(gdstk.Reference(l1i_tag_array_contact_21, (3.4,210.6)))
c_l1i_tag_array_wordline_d.add(gdstk.Label('en', (8.6,105.6), layer=51, texttype=0))
c_l1i_tag_array_wordline_d.add(gdstk.Label('in_0', (6.6,3.2), layer=49, texttype=0))
c_l1i_tag_array_wordline_d.add(gdstk.Label('wl_0', (16.3,6.1), layer=49, texttype=0))
c_l1i_tag_array_wordline_d.add(gdstk.Label('in_1', (6.6,23.2), layer=49, texttype=0))
c_l1i_tag_array_wordline_d.add(gdstk.Label('wl_1', (16.3,20.3), layer=49, texttype=0))
c_l1i_tag_array_wordline_d.add(gdstk.Label('in_2', (6.6,29.6), layer=49, texttype=0))
c_l1i_tag_array_wordline_d.add(gdstk.Label('wl_2', (16.3,32.5), layer=49, texttype=0))
c_l1i_tag_array_wordline_d.add(gdstk.Label('in_3', (6.6,49.6), layer=49, texttype=0))
c_l1i_tag_array_wordline_d.add(gdstk.Label('wl_3', (16.3,46.7), layer=49, texttype=0))
c_l1i_tag_array_wordline_d.add(gdstk.Label('in_4', (6.6,56), layer=49, texttype=0))
c_l1i_tag_array_wordline_d.add(gdstk.Label('wl_4', (16.3,58.9), layer=49, texttype=0))
c_l1i_tag_array_wordline_d.add(gdstk.Label('in_5', (6.6,76), layer=49, texttype=0))
c_l1i_tag_array_wordline_d.add(gdstk.Label('wl_5', (16.3,73.1), layer=49, texttype=0))
c_l1i_tag_array_wordline_d.add(gdstk.Label('in_6', (6.6,82.4), layer=49, texttype=0))
c_l1i_tag_array_wordline_d.add(gdstk.Label('wl_6', (16.3,85.3), layer=49, texttype=0))
c_l1i_tag_array_wordline_d.add(gdstk.Label('in_7', (6.6,102.4), layer=49, texttype=0))
c_l1i_tag_array_wordline_d.add(gdstk.Label('wl_7', (16.3,99.5), layer=49, texttype=0))
c_l1i_tag_array_wordline_d.add(gdstk.Label('in_8', (6.6,108.8), layer=49, texttype=0))
c_l1i_tag_array_wordline_d.add(gdstk.Label('wl_8', (16.3,111.7), layer=49, texttype=0))
c_l1i_tag_array_wordline_d.add(gdstk.Label('in_9', (6.6,128.8), layer=49, texttype=0))
c_l1i_tag_array_wordline_d.add(gdstk.Label('wl_9', (16.3,125.9), layer=49, texttype=0))
c_l1i_tag_array_wordline_d.add(gdstk.Label('in_10', (6.6,135.2), layer=49, texttype=0))
c_l1i_tag_array_wordline_d.add(gdstk.Label('wl_10', (16.3,138.1), layer=49, texttype=0))
c_l1i_tag_array_wordline_d.add(gdstk.Label('in_11', (6.6,155.2), layer=49, texttype=0))
c_l1i_tag_array_wordline_d.add(gdstk.Label('wl_11', (16.3,152.3), layer=49, texttype=0))
c_l1i_tag_array_wordline_d.add(gdstk.Label('in_12', (6.6,161.6), layer=49, texttype=0))
c_l1i_tag_array_wordline_d.add(gdstk.Label('wl_12', (16.3,164.5), layer=49, texttype=0))
c_l1i_tag_array_wordline_d.add(gdstk.Label('in_13', (6.6,181.6), layer=49, texttype=0))
c_l1i_tag_array_wordline_d.add(gdstk.Label('wl_13', (16.3,178.7), layer=49, texttype=0))
c_l1i_tag_array_wordline_d.add(gdstk.Label('in_14', (6.6,188), layer=49, texttype=0))
c_l1i_tag_array_wordline_d.add(gdstk.Label('wl_14', (16.3,190.9), layer=49, texttype=0))
c_l1i_tag_array_wordline_d.add(gdstk.Label('in_15', (6.6,208), layer=49, texttype=0))
c_l1i_tag_array_wordline_d.add(gdstk.Label('wl_15', (16.3,205.1), layer=49, texttype=0))
c_l1i_tag_array_wordline_d.add(gdstk.Label('vdd', (20.8,105.6), layer=31, texttype=0))
c_l1i_tag_array_wordline_d.add(gdstk.Label('gnd', (4,105.6), layer=31, texttype=0))

lib.write_gds('l1i_tag_array_wordline_driver_array.gds')
